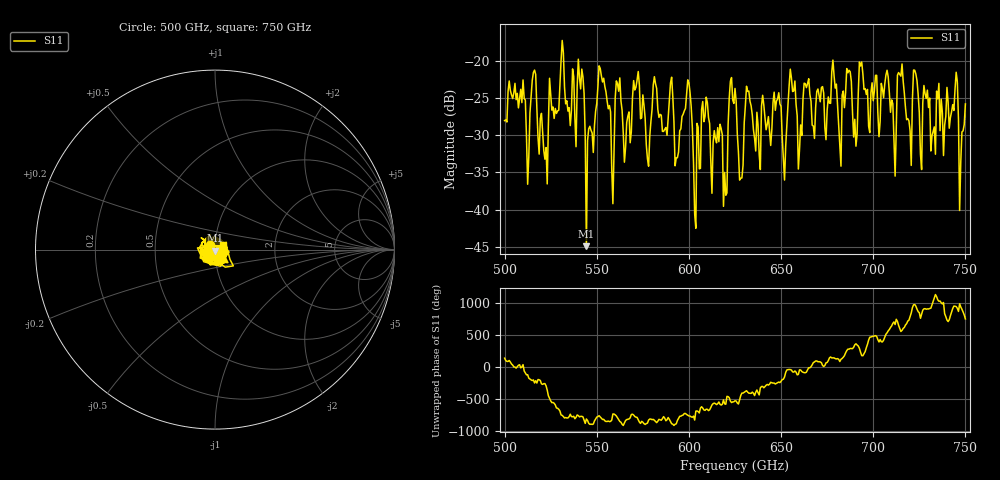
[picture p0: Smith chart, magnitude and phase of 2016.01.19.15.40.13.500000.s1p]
!Created with skrf (http://scikit-rf.org).
# GHz S RI R 50.0
!freq ReS11 ImS11
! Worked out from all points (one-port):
!   401 points, 500 GHz to 750 GHz, reference 50 ohm
!   lowest |S11| = -44.9 dB at 544.4 GHz (marker M1), VSWR 1.01, Z = 49.9 - j0.563 ohm
!   |S11| at or under -10 dB: start of sweep to end of sweep
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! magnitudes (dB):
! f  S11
! 500 GHz  -28.0
! 513.1 GHz  -32.9
! 515.6 GHz  -21.6
! 521.9 GHz  -33.2
! 531.2 GHz  -17.3
! 541.2 GHz  -23.8
! 544.4 GHz  -44.9
! 551.9 GHz  -21.0
! 558.1 GHz  -34.5
! 562.5 GHz  -22.3
! 578.1 GHz  -34.2
! 590.6 GHz  -22.2
! 593.8 GHz  -33.0
! 600 GHz  -23.0
! 603.1 GHz  -40.6
! 608.8 GHz  -27.5
! 619.4 GHz  -35.0
! 625 GHz  -23.7
! 628.1 GHz  -35.8
! 631.9 GHz  -24.1
! 651.9 GHz  -36.0
! 656.2 GHz  -24.1
! 660 GHz  -32.0
! 663.8 GHz  -23.6
! 681.9 GHz  -31.7
! 687.5 GHz  -21.5
! 718.8 GHz  -27.8
! 750 GHz  -25.8
